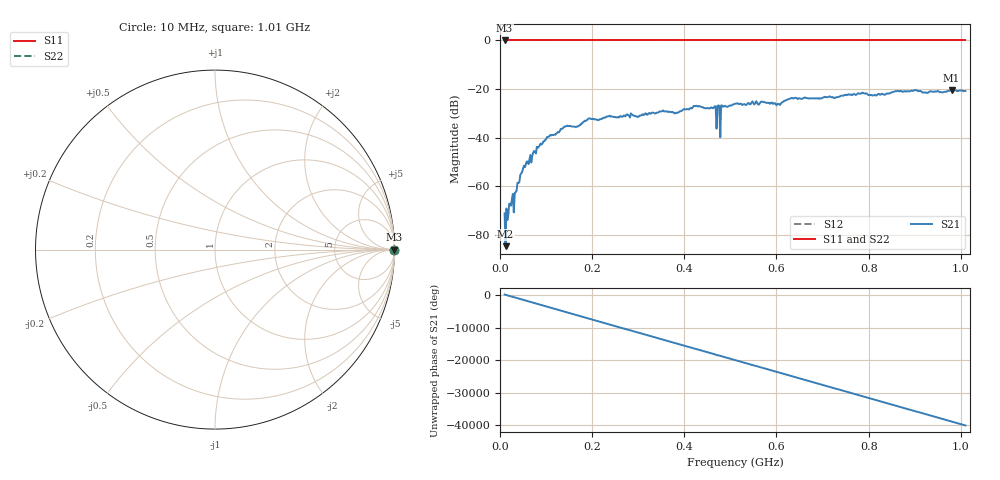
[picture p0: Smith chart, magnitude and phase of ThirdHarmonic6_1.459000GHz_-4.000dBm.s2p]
! 8/16/2025 4:57:02 PM
! C:\ANRITSUVNA\TEMP\TEMP.S2P
! CHANNEL.1
! TR.MEASUREMENT
! RAW.DATA
! RF.CORRECTION.OFF
! AVERAGING.OFF
! IF.BANDWIDTH: 5KHZ
! SWEEPTYPE:  FREQ.SWEEP(Linear)
! Reference Plane Port Info
! PORT:  PORT1  PORT2
! DISTANCE:  0  m  0  m
! TIME:  0  s  0  s
! PHASE.OFFSET:  0  deg.  0  deg.
! LOSS:  0  dB  0  dB
! REF.LOSS:  0  dB  0  dB
! REF.FREQ:  0  Hz  0  Hz
! Power Info
! POWER:  -20  dBm  -20  dBm
! EFF.POWER:  -20  dBm  -20  dBm
! SOURCE.ATTEN:  0  dB  0  dB
! TEST.ATTEN:  0  dB  0  dB
# GHZ S RI R 50.0
! FREQ.GHZ  S11RE  S11IM  S21RE  S21IM  S12RE  S12IM  S22RE  S22IM
!; PortSelection: Port_12
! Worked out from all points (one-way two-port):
!   501 points, 10 MHz to 1.01 GHz, reference 50 ohm
!   highest |S21| = -20.36 dB at 980 MHz (marker M1); lowest = -84.7 dB at 12 MHz (marker M2)
!   lowest |S11| = 0.0 dB at 10 MHz (marker M3)
!   |S11| at or under -10 dB: nowhere
!   |S22| runs from 0.0 to 0.0 dB; largest |S21 - S12| = 1.1
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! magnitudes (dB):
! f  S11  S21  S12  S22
! 10 MHz  0.0  -71.2  0.0  0.0
! 12 MHz  0.0  -84.7  0.0  0.0
! 16 MHz  0.0  -73.9  0.0  0.0
! 24 MHz  0.0  -68.0  0.0  0.0
! 34 MHz  0.0  -62.4  0.0  0.0
! 48 MHz  0.0  -54.1  0.0  0.0
! 84 MHz  0.0  -43.8  0.0  0.0
! 142 MHz  0.0  -35.4  0.0  0.0
! 178 MHz  0.0  -34.2  0.0  0.0
! 344 MHz  0.0  -29.6  0.0  0.0
! 464 MHz  0.0  -27.7  0.0  0.0
! 472 MHz  0.0  -27.1  0.0  0.0
! 474 MHz  0.0  -26.7  0.0  0.0
! 482 MHz  0.0  -26.8  0.0  0.0
! 484 MHz  0.0  -27.2  0.0  0.0
! 510 MHz  0.0  -26.1  0.0  0.0
! 604 MHz  0.0  -26.1  0.0  0.0
! 630 MHz  0.0  -23.9  0.0  0.0
! 678 MHz  0.0  -23.9  0.0  0.0
! 844 MHz  0.0  -21.9  0.0  0.0
! 980 MHz  0.0  -20.4  0.0  0.0
! 1.01 GHz  0.0  -20.8  0.0  0.0
